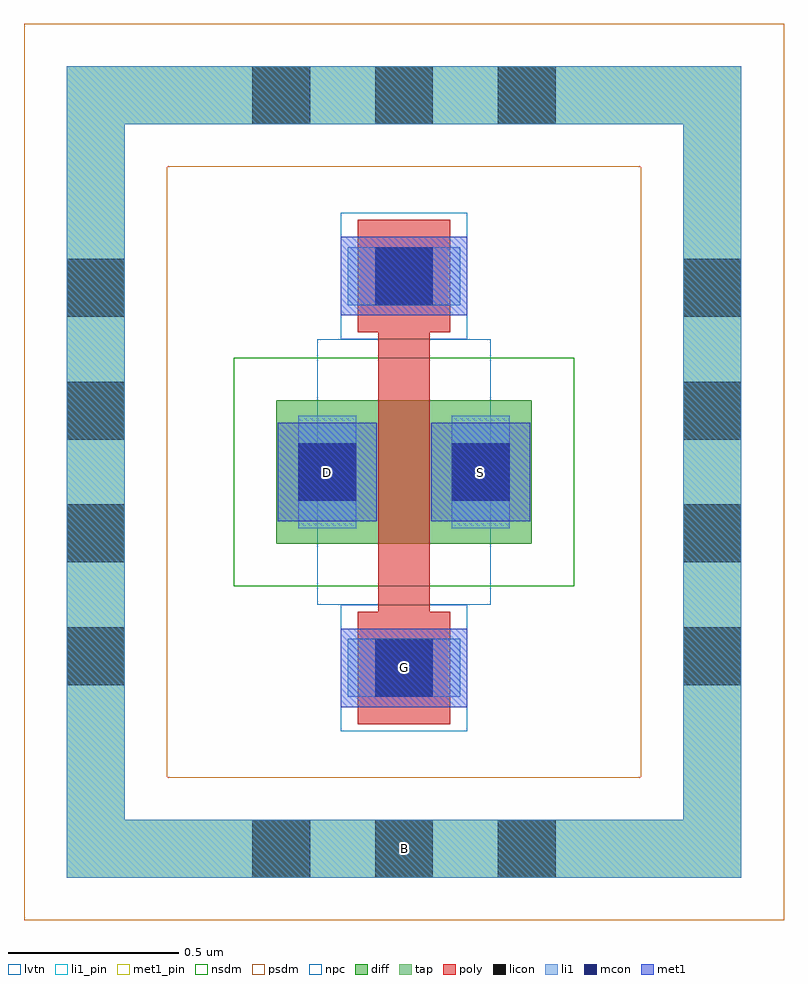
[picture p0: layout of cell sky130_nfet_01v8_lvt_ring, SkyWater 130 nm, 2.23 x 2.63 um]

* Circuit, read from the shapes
.subckt sky130_nfet_01v8_lvt_ring B D G S
XM1 S G D B sky130_fd_pr__nfet_01v8_lvt w=0.42 l=0.15
.ends

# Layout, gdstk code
import gdstk
lib = gdstk.Library(unit=1e-6, precision=1e-09)
def R(c, l, rs):  # rectangles x0, y0, x1, y1
    for r in rs: c.add(gdstk.rectangle(r[:2], r[2:], *l))
def A(c, l, x, y, w, h, nx, ny, dx, dy):  # array of equal rectangles
    R(c, l, [(x+i*dx, y+j*dy, x+i*dx+w, y+j*dy+h) for i in range(nx) for j in range(ny)])
def P(c, l, *ps):  # polygons
    for p in ps: c.add(gdstk.Polygon(p, *l))
diff = (65, 20)
tap = (65, 44)
poly = (66, 20)
licon = (66, 44)
li1_pin = (67, 16)
li1 = (67, 20)
mcon = (67, 44)
met1_pin = (68, 16)
met1 = (68, 20)
nsdm = (93, 44)
psdm = (94, 20)
npc = (95, 20)
lvtn = (125, 44)

nfet = lib.new_cell('nfet')
R(nfet, diff, [(0,0,0.75,0.42)])
P(nfet, tap, [(-0.615,-0.98),(-0.615,1.23),(-0.445,1.23),(-0.445,-0.81),(1.195,-0.81),(1.195,1.23),(-0.615,1.23),(-0.615,1.4),(1.365,1.4),(1.365,-0.98)])
R(nfet, poly, [(0.24,-0.53,0.51,-0.2), (0.3,-0.2,0.45,0.62), (0.24,0.62,0.51,0.95)])
A(nfet, licon, -0.07, -0.98, 0.17, 0.17, 3, 2, 0.36, 2.21)
A(nfet, licon, -0.615, -0.415, 0.17, 0.17, 1, 4, 0, 0.36)
A(nfet, licon, 1.195, -0.415, 0.17, 0.17, 1, 4, 0, 0.36)
R(nfet, licon, [(0.29,-0.45,0.46,-0.28), (0.065,0.125,0.235,0.295), (0.515,0.125,0.685,0.295), (0.29,0.7,0.46,0.87)])
R(nfet, li1, [(0.21,-0.45,0.54,-0.28), (0.065,0.045,0.235,0.375), (0.515,0.045,0.685,0.375), (0.21,0.7,0.54,0.87)])
P(nfet, li1, [(-0.615,-0.98),(-0.615,1.23),(-0.445,1.23),(-0.445,-0.81),(1.195,-0.81),(1.195,1.23),(-0.615,1.23),(-0.615,1.4),(1.365,1.4),(1.365,-0.98)])
R(nfet, mcon, [(0.29,-0.45,0.46,-0.28), (0.065,0.125,0.235,0.295), (0.515,0.125,0.685,0.295), (0.29,0.7,0.46,0.87)])
R(nfet, met1, [(0.19,-0.48,0.56,-0.25), (0.005,0.065,0.295,0.355), (0.455,0.065,0.745,0.355), (0.19,0.67,0.56,0.9)])
R(nfet, nsdm, [(-0.125,-0.125,0.875,0.545)])
P(nfet, psdm, [(-0.74,-1.105),(-0.74,1.105),(-0.32,1.105),(-0.32,-0.685),(1.07,-0.685),(1.07,1.105),(-0.74,1.105),(-0.74,1.525),(1.49,1.525),(1.49,-1.105)])
R(nfet, npc, [(0.23,-0.54,0.52,-0.19), (0.23,0.61,0.52,0.96)])
R(nfet, lvtn, [(0.12,-0.18,0.63,0.6)])

sky130_nfet_01v8_lvt_rin = lib.new_cell('sky130_nfet_01v8_lvt_ring')
R(sky130_nfet_01v8_lvt_rin, li1_pin, [(0.29,-0.98,0.46,-0.81)])
R(sky130_nfet_01v8_lvt_rin, met1_pin, [(0.29,-0.45,0.46,-0.28), (0.065,0.125,0.235,0.295), (0.515,0.125,0.685,0.295)])
R(sky130_nfet_01v8_lvt_rin, npc, [(0.19,-0.55,0.56,-0.18), (0.19,0.6,0.56,0.97)])
sky130_nfet_01v8_lvt_rin.add(gdstk.Reference(nfet, (0,0)))
sky130_nfet_01v8_lvt_rin.add(gdstk.Label('D', (0.15,0.21), layer=68, texttype=5))
sky130_nfet_01v8_lvt_rin.add(gdstk.Label('S', (0.6,0.21), layer=68, texttype=5))
sky130_nfet_01v8_lvt_rin.add(gdstk.Label('G', (0.375,-0.365), layer=68, texttype=5))
sky130_nfet_01v8_lvt_rin.add(gdstk.Label('B', (0.375,-0.895), layer=67, texttype=5))

lib.write_gds('sky130_nfet_01v8_lvt_ring.gds')
